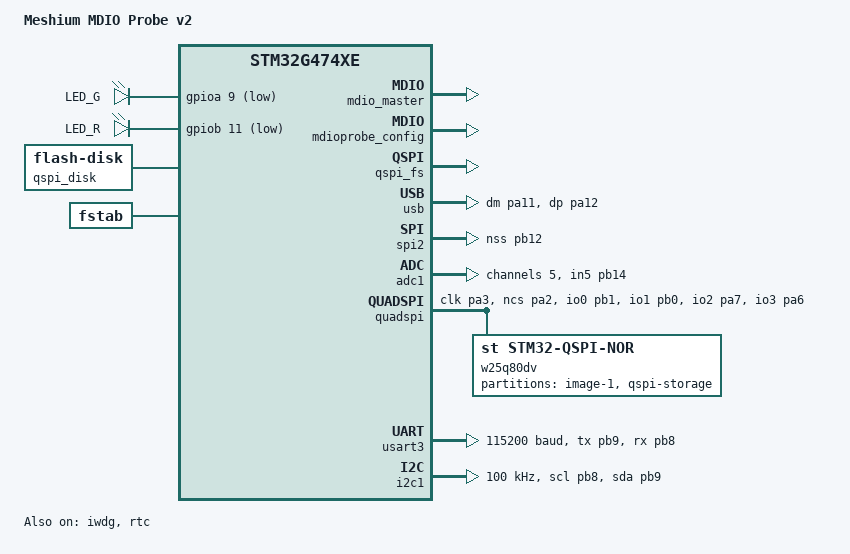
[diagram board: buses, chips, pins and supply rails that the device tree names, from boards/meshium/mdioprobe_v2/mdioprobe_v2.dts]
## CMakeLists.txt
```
cmake_minimum_required(VERSION 3.20.0)

# The board lives inside the app: boards/meshium/mdioprobe_v2/.
list(APPEND BOARD_ROOT ${CMAKE_CURRENT_SOURCE_DIR})

# No `cdc-acm-console` snippet: it builds a USB device with CDC ACM and
# nothing else, and this firmware has to be able to tear that down and come
# back as mass storage. The device is ours, in src/mdioprobe_usbd.c.

find_package(Zephyr REQUIRED HINTS $ENV{ZEPHYR_BASE})
project(mdioprobe_v2)

# ---------------------------------------------------------------------------
# Version header
# ---------------------------------------------------------------------------
#
# Release version from the tracked version.txt, build identity from git. The
# script rewrites the header only when its contents change, so a rebuild
# after an unrelated edit does not cascade.

set(MDIOPROBE_VERSION_HEADER ${CMAKE_BINARY_DIR}/generated/mdioprobe_version.h)

add_custom_target(mdioprobe_version_header ALL
  COMMAND ${PYTHON_EXECUTABLE}
          ${CMAKE_CURRENT_LIST_DIR}/scripts/gen_version_header.py
          --version-file ${CMAKE_CURRENT_LIST_DIR}/version.txt
          --out-header ${MDIOPROBE_VERSION_HEADER}
  BYPRODUCTS ${MDIOPROBE_VERSION_HEADER}
  DEPENDS
    ${CMAKE_CURRENT_LIST_DIR}/version.txt
    ${CMAKE_CURRENT_LIST_DIR}/scripts/gen_version_header.py
  VERBATIM
)
add_dependencies(app mdioprobe_version_header)

# ---------------------------------------------------------------------------
# MicroPython
# ---------------------------------------------------------------------------
#
# Built as a plain CMake static library and linked into the app, rather than
# with zephyr_library(): the latter is for Zephyr modules and warns when used
# from an application. The consequence is that this target does NOT inherit
# Zephyr's compile settings automatically — they have to be pulled in by hand
# below, both for the target itself and for the separate QSTR preprocessing
# pass.

set(MICROPY_DIR "${CMAKE_CURRENT_LIST_DIR}/third_party/micropython"
    CACHE PATH "Path to the MicroPython source tree")
set(MICROPY_PORT_DIR "${MICROPY_DIR}/ports/zephyr")

if(NOT EXISTS "${MICROPY_PORT_DIR}/CMakeLists.txt")
  message(FATAL_ERROR
    "MicroPython not found at ${MICROPY_DIR}.\n"
    "It is a git submodule: git submodule update --init --recursive")
endif()
if(NOT EXISTS "${MICROPY_DIR}/lib/micropython-lib/README.md")
  message(FATAL_ERROR
    "micropython-lib is missing — the frozen manifest needs it.\n"
    "Run: git submodule update --init --recursive")
endif()

set(MICROPY_TARGET micropython)

include(${MICROPY_DIR}/py/py.cmake)
include(${MICROPY_DIR}/extmod/extmod.cmake)

# The port ships a devicetree binding (micropython,heap) for a split GC heap.
list(APPEND DTS_ROOT ${MICROPY_PORT_DIR}/dts)

if(CONFIG_MICROPY_FROZEN_MODULES)
  # Manifest paths in this project are relative to the app root, not to the
  # port directory the way upstream's own board manifests are.
  cmake_path(ABSOLUTE_PATH CONFIG_MICROPY_FROZEN_MANIFEST
             BASE_DIRECTORY ${CMAKE_CURRENT_LIST_DIR})
  set(MICROPY_FROZEN_MANIFEST ${CONFIG_MICROPY_FROZEN_MANIFEST})
endif()

# Must come after MICROPY_FROZEN_MANIFEST is resolved: it pulls in
# py/manifest.cmake, which turns the MICROPY_MANIFEST_* variables into the
# -v arguments makemanifest.py needs. Skip it and the frozen-content step
# dies with "TypeError: 'NoneType' object is not iterable".
include(${MICROPY_DIR}/py/usermod.cmake)

# Mirrors ports/zephyr/CMakeLists.txt, with two deliberate omissions:
#   src/zephyr_start.c — supplies main(); ours is in src/main.c so the
#                        hardware is up before the interpreter starts.
#   src/usbd.c         — would build a second USB device; Zephyr already
#                        owns ours (see src/mdioprobe_mp_usbd.c).
set(MICROPY_SOURCE_PORT
    main.c
    help.c
    modzephyr.c
    mphalport.c
    uart_core.c
    zephyr_device.c
    zephyr_storage.c
    zephyr_filesystem.c
    mpthreadport.c
)
list(TRANSFORM MICROPY_SOURCE_PORT PREPEND ${MICROPY_PORT_DIR}/)

# ports/zephyr/src/zephyr_getchar.c is the console input path for builds
# *without* CONFIG_CONSOLE_SUBSYS: it hooks the UART console debug server
# instead. We use the console subsystem (uart_core.c's tty layer), so that
# file is dead code here — and it does not even compile without
# CONFIG_UART_CONSOLE_DEBUG_SERVER_HOOKS, which we have no other reason to
# turn on.
set(MICROPY_SOURCE_PORT_SRC)

set(MICROPY_SOURCE_SHARED
    libc/printf.c
    readline/readline.c
    runtime/gchelper_generic.c
    runtime/interrupt_char.c
    runtime/mpirq.c
    runtime/pyexec.c
    runtime/stdout_helpers.c
    runtime/sys_stdio_mphal.c
    timeutils/timeutils.c
)
list(TRANSFORM MICROPY_SOURCE_SHARED PREPEND ${MICROPY_DIR}/shared/)

set(MICROPY_QSTRDEFS_PORT ${MICROPY_PORT_DIR}/qstrdefsport.h)

# Our own builtin module. It has to be listed here — and compiled as part of
# the micropython target below, not the app — because MP_REGISTER_MODULE() is
# discovered by scanning MICROPY_SOURCE_QSTR. Compiled into `app` instead it
# would build cleanly and simply not exist in Python.
set(MDIOPROBE_MICROPY_SOURCES
    ${CMAKE_CURRENT_LIST_DIR}/src/modmdioprobe.c
    ${CMAKE_CURRENT_LIST_DIR}/src/mdioprobe_readline.c
)

set(MICROPY_SOURCE_QSTR
    ${MICROPY_SOURCE_PY}
    ${MICROPY_SOURCE_EXTMOD}
    ${MICROPY_SOURCE_SHARED}
    ${MICROPY_SOURCE_PORT}
    ${MICROPY_SOURCE_PORT_SRC}
    ${MDIOPROBE_MICROPY_SOURCES}
)

# The QSTR extraction step runs the compiler as a bare preprocessor, outside
# any CMake target, so it sees none of Zephyr's include paths or -D flags
# unless they are handed over explicitly. Without this it silently
# mis-evaluates everything guarded by CONFIG_*.
zephyr_get_include_directories_for_lang(C includes)
zephyr_get_system_include_directories_for_lang(C system_includes)
zephyr_get_compile_definitions_for_lang(C definitions)
zephyr_get_compile_options_for_lang(C options)
set(MICROPY_CPP_FLAGS_EXTRA ${includes} ${system_includes} ${definitions} ${options})

# Zephyr injects -std=c17 through zephyr_interface, but MicroPython needs GNU
# C: shared/runtime/gchelper_generic.c uses `register ... asm("r4")`. Carried
# on a separate INTERFACE target linked *after* zephyr_interface so its option
# lands later on the command line and wins.
add_library(mdioprobe_micropython_cflags INTERFACE)
target_compile_options(mdioprobe_micropython_cflags INTERFACE -std=gnu99)

add_library(${MICROPY_TARGET} STATIC)
target_link_libraries(${MICROPY_TARGET} PRIVATE
    zephyr_interface
    mdioprobe_micropython_cflags
)
target_include_directories(${MICROPY_TARGET} PRIVATE
    ${MICROPY_INC_CORE}
    ${MICROPY_PORT_DIR}
    ${CMAKE_CURRENT_LIST_DIR}/src
    ${CMAKE_CURRENT_LIST_DIR}/include
    ${CMAKE_CURRENT_BINARY_DIR}
    ${CMAKE_BINARY_DIR}/generated
)
# gchelper_generic.c scans the stack conservatively from captured registers,
# which assumes no frame pointer is in the way.
target_compile_options(${MICROPY_TARGET} PRIVATE -fomit-frame-pointer)
target_compile_definitions(${MICROPY_TARGET} PRIVATE
    NDEBUG
    MP_CONFIGFILE=<${CONFIG_MICROPY_CONFIGFILE}>
    MICROPY_HEAP_SIZE=${CONFIG_MICROPY_HEAP_SIZE}
    # Needed even with MICROPY_VFS_FAT off: the QSTR pass preprocesses every
    # extmod source, and modvfs.c pulls in vfs_fat.h -> oofatfs/ff.h, which
    # refuses to be preprocessed without it. The FatFs code itself is still
    # compiled out.
    FFCONF_H=\"${MICROPY_OOFATFS_DIR}/ffconf.h\"
    MICROPY_VFS_FAT=$<BOOL:${CONFIG_MICROPY_VFS_FAT}>
    MICROPY_VFS_LFS1=$<BOOL:${CONFIG_MICROPY_VFS_LFS1}>
    MICROPY_VFS_LFS2=$<BOOL:${CONFIG_MICROPY_VFS_LFS2}>
)
target_sources(${MICROPY_TARGET} PRIVATE ${MICROPY_SOURCE_QSTR})

include(${MICROPY_DIR}/py/mkrules.cmake)

# modmdioprobe.c includes the generated version header.
add_dependencies(${MICROPY_TARGET} mdioprobe_version_header)

# mpconfigport.h includes <zephyr/autoconf.h>, so the generated headers have
# to exist before anything in this target compiles.
add_dependencies(${MICROPY_TARGET} zephyr_generated_headers)
add_dependencies(BUILD_VERSION_HEADER zephyr_generated_headers)

target_link_libraries(app PRIVATE ${MICROPY_TARGET})

# ---------------------------------------------------------------------------
# Application
# ---------------------------------------------------------------------------

target_sources(app PRIVATE
    src/main.c
    src/mdioprobe_adc_dac.c
    src/mdioprobe_timers.c
    src/mdioprobe_mdio_api.c
    src/mdioprobe_mdio_master.c
    src/mdioprobe_autocal.c
    src/mdioprobe_vreg.c
    src/mdioprobe_serial.c
    src/mdioprobe_led.c
    src/mdioprobe_usb.c
    src/mdioprobe_api.c
    src/mdioprobe_bus.c
    src/mdioprobe_reset.c
    src/mdioprobe_mp_usbd.c
    src/mdioprobe_usbd.c
    src/mdioprobe_msd.c
)

# include/ is the public API surface; src/ holds the private module
# headers that mdioprobe_api.h deliberately hides.
target_include_directories(app PRIVATE include src ${CMAKE_BINARY_DIR}/generated)
```

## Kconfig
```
# Copyright (c) 2026 Meshium
# SPDX-License-Identifier: Apache-2.0

# The MicroPython Zephyr port ships its own Kconfig with every MICROPY_*
# symbol we need — including the ROM feature-level choice its mpconfigport.h
# insists on — and it sources Kconfig.zephyr itself. Pulling it in beats
# restating those symbols here, which would silently drift from upstream.
#
# Values for this board live in prj.conf.
rsource "third_party/micropython/ports/zephyr/Kconfig"
```

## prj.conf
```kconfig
CONFIG_GPIO=y

# SPI2 is driven directly via LL by src/mdioprobe_mdio_api.c. The Zephyr
# driver is kept ONLY so its init applies the spi2 pinctrl group
# (PB12/PB13/PB15 → AF5). Application code never calls the SPI API — the
# stm32 slave-mode driver has races (Tx dma_stop failure, RX FIFO desync
# on re-arm) that proved fatal for back-to-back captures on g474.
CONFIG_SPI=y
CONFIG_SPI_SLAVE=y

CONFIG_ADC=y

# The vreg control tick (TIM6, 20 kHz) is registered as a zero-latency IRQ so
# irq_lock() cannot mask it — the bitbang MDIO master holds the lock for a
# whole ~430 µs frame, and a starved regulator loses the rail entirely
# (measured 2.7 V of swing on a 1.8 V target, 2026-07-30). Rationale and the
# consequences for locking inside the module are in src/mdioprobe_vreg.c.
CONFIG_ZERO_LATENCY_IRQS=y
# CONFIG_DAC is intentionally off:
#  - DAC3_CH1 (MDC threshold) and DAC4_CH1 (MDIO threshold) are
#    internal-only on STM32G4 — no pin, so no pinctrl, so no Zephyr node;
#  - DAC1_CH1 (vreg gate, PA4) is inside a 10 kHz control loop that needs
#    direct register writes.
# Both are configured via LL (mdioprobe_adc_dac.c / mdioprobe_vreg.c).

# QSPI NOR: Winbond W25Q80DVSNIG (8 Mbit).
CONFIG_FLASH=y
CONFIG_FLASH_MAP=y
CONFIG_FLASH_PAGE_LAYOUT=y
CONFIG_FLASH_STM32_QSPI=y
# The QSPI driver logs a dozen INFO lines about SFDP parsing on every boot.
# It registers with CONFIG_FLASH_LOG_LEVEL, so this quiets it without
# touching the driver. Note it covers every flash driver, not just QSPI.
CONFIG_FLASH_LOG_LEVEL_WRN=y

# Alternate personalities of the target connector (PB8/PB9). Both drivers
# are built in and their pins re-muxed at runtime by mdioprobe_serial.c,
# so changing the connector's role needs no reflash.
# The console is USB CDC ACM, and the USB device is built by this firmware
# rather than by the cdc-acm-console snippet.
CONFIG_USB_DEVICE_STACK_NEXT=y
CONFIG_USBD_CDC_ACM_CLASS=y
CONFIG_USBD_MSC_CLASS=y
CONFIG_CDC_ACM_SERIAL_INITIALIZE_AT_BOOT=n
CONFIG_SERIAL=y
CONFIG_UART_LINE_CTRL=y
CONFIG_I2C=y
# Runtime re-muxing of PB8/PB9 between MDIO / USART3 / I2C1: DYNAMIC makes
# the drivers' pinctrl configs reachable from the app, KEEP_SLEEP_STATE
# keeps the Analog "sleep" state in the build (it is dropped by default
# outside of PM builds).
CONFIG_PINCTRL_DYNAMIC=y
CONFIG_PINCTRL_KEEP_SLEEP_STATE=y

CONFIG_CONSOLE=y
CONFIG_UART_CONSOLE=y

CONFIG_LOG=y
CONFIG_LOG_MODE_DEFERRED=y
# The MicroPython REPL and the log backend share one CDC ACM port, so keep
# the log to events that are worth interrupting a command line for.
CONFIG_LOG_MAX_LEVEL=2
CONFIG_LOG_BUFFER_SIZE=16384

# Staging buffer of the shell's log backend, in BYTES (shell_uart.c divides
# it by sizeof(uint32_t)). The 512-byte default overflows during boot: with
# CHECK_DTR the output is held back until the USB terminal is opened, while
# driver init keeps logging — the buffer is MPSC_PBUF_MODE_OVERWRITE, so the
# oldest messages are dropped and you get "--- N messages dropped ---".
# Receive ring buffer. The 64-byte default is smaller than legitimate
# commands: `flash write <device> <addr> <dword>...` with a device name like
# "qspi-nor-flash@90000000" passes 64 characters with only two data words, and
# a host that pastes the line rather than typing it overruns the buffer
# mid-command. The shell then executes the truncated remainder and reports a
# verification error that has nothing to do with the flash (seen 2026-07-30).
# Long commands also need somewhere to be assembled once received.
# `kernel reboot cold|warm`. The delay lets the shell echo the command out
# over CDC ACM before the reset tears USB enumeration down — without it the
# host usually loses the line before seeing any acknowledgement.

# USB device (console/shell backend). The `cdc-acm-console` snippet, added
# from CMakeLists.txt, turns on USB_DEVICE_STACK_NEXT and points
# zephyr,console + zephyr,shell-uart at the CDC ACM UART.
CONFIG_CDC_ACM_SERIAL_MANUFACTURER_STRING="Meshium"
CONFIG_CDC_ACM_SERIAL_PRODUCT_STRING="MDIO Probe v2"
# TODO: VID/PID are Zephyr's test IDs — replace before shipping hardware.
CONFIG_CDC_ACM_SERIAL_VID=0x2fe3
CONFIG_CDC_ACM_SERIAL_PID=0x0004

CONFIG_PICOLIBC=y
CONFIG_PICOLIBC_USE_MODULE=n

# --- MicroPython ---
# The interpreter runs in the main thread and sizes its own stack check from
# CONFIG_MAIN_STACK_SIZE, so this is the REPL's stack too.
CONFIG_MAIN_STACK_SIZE=8192
# ports/zephyr/mphalport.c parks the interpreter on a k_poll signal while it
# waits for console input, instead of spinning.
CONFIG_POLL=y
# Console RX/TX rings for the interpreter's tty layer (ports/zephyr/uart_core.c).
CONFIG_CONSOLE_SUBSYS=y
CONFIG_CONSOLE_GETCHAR=y
CONFIG_CONSOLE_GETCHAR_BUFSIZE=256
CONFIG_CONSOLE_PUTCHAR_BUFSIZE=256

# Our own MicroPython configuration header, not the port's minimal one.
CONFIG_MICROPY_CONFIGFILE="mpconfigport_mdioprobe.h"
# A static array in the port's main.c, so it is .bss and fixed at link time.
# 64 KB (what the previous project used) does not leave enough of this
# board's 128 KB for the capture ring, vreg loop, detector and USB.
CONFIG_MICROPY_HEAP_SIZE=49152
CONFIG_MICROPY_FROZEN_MODULES=y
CONFIG_MICROPY_FROZEN_MANIFEST="micropython_manifest.py"
# MicroPython's own FatFs stays out: the FAT volume belongs to Zephyr and
# reaches Python through zephyr.FileSystem.
CONFIG_MICROPY_VFS_FAT=n

# --- Storage: FAT on the QSPI NOR ---
# A flash-disk block device over the storage partition, with Zephyr's FatFs
# on top. FAT rather than LittleFS because a host has to be able to read the
# volume directly over USB MSD without a driver.
CONFIG_DISK_ACCESS=y
CONFIG_DISK_DRIVER_FLASH=y
CONFIG_FILE_SYSTEM=y
# Silence the filesystem subsystem's own logging. A missing file is an
# ordinary outcome of a CLI command, and fs.c reports it at ERR level, which
# lands on top of the user's prompt. Every filesystem failure already reaches
# the operator through the command that caused it, so the second copy adds
# only interleaving. Note WRN is not enough here: a module at WRN still emits
# ERR.
CONFIG_FS_LOG_LEVEL_OFF=y
CONFIG_FAT_FILESYSTEM_ELM=y
CONFIG_FILE_SYSTEM_MKFS=y
CONFIG_FS_FATFS_MKFS=y
# Format when the mount fails, i.e. on a blank chip. Convenient for a bench
# instrument; a product would want this behind a deliberate user action,
# because a transient read failure would take the volume with it.
CONFIG_FS_FATFS_MOUNT_MKFS=y

# f_getlabel()/f_setlabel(). The volume shows up on a host as MDIOPROBE
# rather than NO NAME, which matters because `msd` is how files get onto the
# probe and an unlabelled drive is one more thing to identify by size.
CONFIG_FS_FATFS_EXTRA_NATIVE_API=y
# Long filenames. Not cosmetic: without them FAT stores 8.3 names in upper
# case, so a script saved as `probe.py` lands on the volume as `PROBE.PY`
# and `import probe` cannot find it — which would defeat the whole reason
# for putting MicroPython's VFS over this volume. The working buffer is
# (MAX_LFN + 1) * 2 bytes in .bss; 64 covers any sane filename at 130 B.
# FatFs only accepts volume strings from a built-in list (RAM, NAND, CF,
# SD, ...) unless custom ones are declared. Declaring ours is worth two
# lines: the chip is NOR flash, so calling the volume NAND would be plainly
# wrong, and the name ends up in every path a user types.
CONFIG_FS_FATFS_CUSTOM_MOUNT_POINT_COUNT=1
CONFIG_FS_FATFS_CUSTOM_MOUNT_POINTS="flash"

CONFIG_FS_FATFS_LFN=y
CONFIG_FS_FATFS_LFN_MODE_BSS=y
CONFIG_FS_FATFS_MAX_LFN=64
```

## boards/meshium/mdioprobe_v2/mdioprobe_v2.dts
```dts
/*
 * Copyright (c) 2026 Meshium
 *               Aleksandr Senin <al@meshium.net>
 *
 * SPDX-License-Identifier: Apache-2.0
 *
 * MDIO Probe v2 — STM32G474CET6 (LQFP48), custom carrier board.
 *
 * Capture path pin assignment is identical to the mdioprobe_g474 bring-up
 * board; what were jumper wires there are PCB traces here:
 *
 *   PA0 (COMP1_OUT, MDC digital)  --trace--> PB13 (SPI2_SCK)
 *   PA8 (COMP7_OUT, MDIO digital) --trace--> PB15 (SPI2_MOSI)
 *   PA10 (HRTIM1_CHB1, NSS latch) --trace--> PB12 (SPI2_NSS)
 *
 * Everything on the capture chain (COMP1/COMP7, DAC3/DAC4 thresholds,
 * TIM3 one-pulse counter, HRTIM SR-latch, SPI2 slave + DMA1) is set up
 * from LL code, not from DT — see docs/CAPTURE.md.
 */

/dts-v1/;
#include <st/g4/stm32g474Xe.dtsi>
#include <st/g4/stm32g474c(b-c-e)tx-pinctrl.dtsi>
#include <zephyr/dt-bindings/gpio/gpio.h>
#include <zephyr/dt-bindings/adc/adc.h>
#include <zephyr/dt-bindings/i2c/i2c.h>

/ {
	model = "Meshium MDIO Probe v2";
	compatible = "meshium,mdioprobe-v2";

	chosen {
		zephyr,sram = &sram0;
		zephyr,flash = &flash0;
		/*
		 * No VCP on this board: the console is a USB CDC ACM port.
		 * Declared here rather than by the `cdc-acm-console` snippet,
		 * because the firmware builds its own USB device — it has to
		 * be able to tear CDC down and come back as mass storage, and
		 * the snippet only ever registers CDC.
		 */
		zephyr,console = &cdc_acm_console;
	};

	/*
	 * Colours verified on hardware 2026-07-22: the initial pinout notes
	 * had them the other way round (PA9=R, PB11=G) — the board actually
	 * wires PA9 to green and PB11 to red.
	 */
	leds: leds {
		compatible = "gpio-leds";

		green_led: led_g {
			gpios = <&gpioa 9 GPIO_ACTIVE_LOW>;
			label = "LED_G";
		};

		red_led: led_r {
			gpios = <&gpiob 11 GPIO_ACTIVE_LOW>;
			label = "LED_R";
		};
	};

	aliases {
		led0 = &green_led;
		led1 = &red_led;
		watchdog0 = &iwdg;
		die-temp0 = &die_temp;
		volt-sensor0 = &vref;
		volt-sensor1 = &vbat;
	};

	/*
	 * Bitbang Clause-22 master (the "generate" half of the probe).
	 *
	 * MDC leaves the board through an external tri-state buffer:
	 *   MDC_EN  (PB6, active LOW) enables the buffer output;
	 *   MDC_OUT (PB7) is the bitbang clock fed into the buffer input.
	 * The buffer is powered from the programmable translator supply
	 * (see mdioprobe_vreg.c) so MDC swings at the target's logic level.
	 * Its output also loops back to PA1/COMP1, so the sniffer's clock
	 * front end sees the probe's own MDC.
	 *
	 * MDIO is split: PB8 drives the line (open-drain, no pull, parked
	 * as Analog while receiving so it cannot load the bus), while the
	 * read-back path is the *sniffer* front end — PB14 → COMP7, whose
	 * digital output the master samples. Reading through the comparator
	 * means the master works at whatever logic level the target uses,
	 * with the same DAC threshold the capture path was calibrated to.
	 */
	mdio_master: mdio_master {
		compatible = "mdioprobe,mdio-master";
		status = "okay";
		mdc-gpios = <&gpiob 7 GPIO_ACTIVE_HIGH>;
		/*
		 * Open-drain: a 4.7 kΩ pull-up to VREG (the buffer's supply)
		 * makes the inactive level. Driving it push-pull would
		 * back-power the VREG rail from the 3.3 V domain.
		 */
		mdc-en-gpios = <&gpiob 6 (GPIO_ACTIVE_LOW | GPIO_OPEN_DRAIN)>;
		mdio-out-gpios = <&gpiob 8 (GPIO_ACTIVE_HIGH | GPIO_OPEN_DRAIN)>;
	};

	mdioprobe_config {
		compatible = "mdioprobe,config";
		/*
		 * MDIO idle-voltage sense. PB14 is shared three ways:
		 * ADC1_IN5 (this channel), COMP7_INP (sniffer) and the
		 * bitbang master's read-back. All three are read-only —
		 * the pin stays Analog at all times.
		 */
		io-channels = <&adc1 5>;
		io-channel-names = "mdio_adc";
		/*
		 * PHY_RST on the target connector: open-drain, no pull —
		 * the line must be pulled up by the target's own supply.
		 */
		target-reset-gpios = <&gpiob 5 (GPIO_ACTIVE_LOW | GPIO_OPEN_DRAIN)>;
	};

};

&clk_hsi {
	status = "okay";
};

/*
 * No crystal on the board: HSI16 feeds the PLL for the 170 MHz core
 * clock, and the USB FS peripheral runs off HSI48.
 *
 * HSI48 free-running is only ~±3 % over temperature, which is outside
 * the ±0.25 % USB FS requires. `src/mdioprobe_usb.c` enables the CRS
 * peripheral to auto-trim HSI48 against USB SOF packets — Zephyr's G4
 * clock driver does not do this for us.
 */
&clk_hsi48 {
	status = "okay";
};

&pll {
	div-m = <4>;
	mul-n = <85>;
	div-p = <2>;
	div-q = <2>;
	div-r = <2>;
	clocks = <&clk_hsi>;
	status = "okay";
};

&rcc {
	clocks = <&pll>;
	clock-frequency = <DT_FREQ_M(170)>;
	ahb-prescaler = <1>;
	apb1-prescaler = <1>;
	apb2-prescaler = <1>;
};

zephyr_udc0: &usb {
	cdc_acm_console: cdc_acm_console {
		compatible = "zephyr,cdc-acm-uart";
	};

	pinctrl-0 = <&usb_dm_pa11 &usb_dp_pa12>;
	pinctrl-names = "default";
	status = "okay";
};

/*
 * Drop the default internal pull-down from SPI2 SCK/MOSI. The bus is
 * push-pull driven on-die by COMP1_OUT (PA0) and COMP7_OUT (PA8) through
 * short PCB traces; a ~40 kΩ pull-down would skew rising edges at
 * multi-MHz MDC. NSS keeps its pull-up — the HRTIM latch (POL1=1) rests
 * it inactive HIGH between frames.
 */
&pinctrl {
	spi2_sck_pb13_nopull: spi2_sck_pb13_nopull {
		pinmux = <STM32_PINMUX('B', 13, AF5)>;
		slew-rate = "very-high-speed";
	};

	spi2_mosi_pb15_nopull: spi2_mosi_pb15_nopull {
		pinmux = <STM32_PINMUX('B', 15, AF5)>;
		slew-rate = "very-high-speed";
	};
};

/*
 * SPI2 slave = the capture engine. The Zephyr driver is enabled only so
 * its init applies this pinctrl group (PB12/PB13/PB15 → AF5); the API is
 * never called. src/mdioprobe_mdio_api.c programs SPI2 + DMA1_Channel1 +
 * DMAMUX1 directly. Note PB14 is deliberately NOT listed — on this board
 * it is the analog MDIO sense pin, not SPI2_MISO.
 */
&spi2 {
	pinctrl-0 = <&spi2_sck_pb13_nopull &spi2_mosi_pb15_nopull &spi2_nss_pb12>;
	pinctrl-names = "default";
	status = "okay";
};

&adc1 {
	pinctrl-0 = <&adc1_in5_pb14>;
	pinctrl-names = "default";
	/* AHB/4 = 42.5 MHz, comfortably under the 60 MHz ADC ceiling. */
	st,adc-clock-source = "SYNC";
	st,adc-prescaler = <4>;
	status = "okay";
	#address-cells = <1>;
	#size-cells = <0>;

	/* PB14 = ADC1_IN5 — MDIO idle level (also COMP7_INP@INPSEL=0). */
	channel@5 {
		reg = <5>;
		zephyr,gain = "ADC_GAIN_1";
		zephyr,reference = "ADC_REF_INTERNAL";
		zephyr,acquisition-time = <ADC_ACQ_TIME_DEFAULT>;
		zephyr,resolution = <12>;
	};
};

/*
 * ADC2_IN12 (PB2, translator Vout sense) and DAC1_CH1 (PA4, MOSFET gate)
 * are driven from LL inside src/mdioprobe_vreg.c — the 10 kHz control
 * loop needs direct register access, so no Zephyr ADC/DAC node here.
 * DAC3_CH1 / DAC4_CH1 (comparator thresholds) are internal-only on G4:
 * no pin, no pinctrl, configured from src/mdioprobe_adc_dac.c.
 */

/*
 * QSPI NOR: Winbond W25Q80DVSNIG, 8 Mbit, on bank 1.
 *   PA3 CLK, PA2 NCS, PB1 IO0, PB0 IO1, PA7 IO2, PA6 IO3.
 */
/ {
	/*
	 * Block device over the storage partition, and the FAT volume on it.
	 *
	 * The volume is called "flash" because that is what it is — a NOR
	 * flash chip. FatFs only takes volume strings from a built-in list
	 * unless custom ones are declared, so prj.conf declares this one
	 * rather than borrowing "NAND", which would be wrong about the part.
	 * cache-size matches the chip's 4 KiB erase block — the flash-disk
	 * layer needs a whole block to do read-modify-write.
	 *
	 * Zephyr mounts it (automount) so the volume is available to C as
	 * well; MicroPython then wraps the same mount through
	 * zephyr.FileSystem, which is what makes `import` and `open()` work
	 * over it.
	 */
	qspi_disk: qspi_disk {
		compatible = "zephyr,flash-disk";
		partition = <&qspi_storage_partition>;
		disk-name = "flash";
		cache-size = <4096>;
	};

	fstab {
		compatible = "zephyr,fstab";

		qspi_fs: qspi_fs {
			compatible = "zephyr,fstab,fatfs";
			mount-point = "/flash:";
			disk-access;
			automount;
		};
	};
};

&quadspi {
	pinctrl-0 = <&quadspi1_clk_pa3 &quadspi1_bk1_ncs_pa2
		     &quadspi1_bk1_io0_pb1 &quadspi1_bk1_io1_pb0
		     &quadspi1_bk1_io2_pa7 &quadspi1_bk1_io3_pa6>;
	pinctrl-names = "default";
	status = "okay";

	w25q80dv: qspi-nor-flash@90000000 {
		compatible = "st,stm32-qspi-nor";
		reg = <0x90000000 DT_SIZE_M(1)>;
		size = <DT_SIZE_M(8)>;      /* bits */
		qspi-max-frequency = <80000000>;
		spi-bus-width = <4>;

		/*
		 * Page program opcode. REQUIRED here — the default is wrong for
		 * this chip and fails silently.
		 *
		 * SFDP carries no information about quad program opcodes, so the
		 * st,stm32-qspi-nor driver assumes a device that reads 1-4-4 also
		 * programs 1-4-4 and issues 0x38. The W25Q80DV does read 1-4-4
		 * (0xEB) but its only quad program is 0x32 (1-1-4); 0x38 is not a
		 * program instruction on this part at all. QSPI has no completion
		 * status, so the write returns success and nothing reaches the
		 * die — `flash write` reported "Write OK. Verification ERROR!"
		 * and the sector stayed 0xFF (2026-07-30).
		 */
		writeoc = "PP_1_1_4";

		status = "okay";

		partitions {
			compatible = "fixed-partitions";
			#address-cells = <1>;
			#size-cells = <1>;

			/*
			 * Reserved for a future MCUboot secondary slot.
			 *
			 * It has to be a raw partition: the bootloader reads and
			 * erases slots through flash_area and knows nothing about
			 * filesystems, so an image cannot live as a file. The FAT
			 * volume below is only ever the transport — a host drops
			 * the image on it over USB MSD and the firmware copies it
			 * in here.
			 *
			 * Internal flash cannot hold a second slot (512 KB total
			 * against an image already past 220 KB with MicroPython),
			 * so the slot has to be out here regardless. Sized now
			 * rather than later because repartitioning destroys the
			 * FAT volume and everything the user put on it.
			 */
			qspi_slot1_partition: partition@0 {
				label = "image-1";
				reg = <0x00000000 DT_SIZE_K(384)>;
			};

			/* Scripts and logs. FAT so a host can read it directly. */
			qspi_storage_partition: partition@60000 {
				label = "qspi-storage";
				reg = <0x00060000 DT_SIZE_K(640)>;
			};
		};
	};
};

/*
 * Alternate serial personalities of the target connector:
 *
 *   PB9 = USART3_TX / I2C1_SDA
 *   PB8 = USART3_RX / I2C1_SCL
 *
 * Both pins go straight to the connector, bypassing the MDC buffer — so
 * the serial personalities are fixed 3.3 V with no level translation, and
 * I2C1_SDA stays bidirectional end to end. The buffer must be off in these
 * modes or it would fight PB9 on the shared connector line.
 *
 * Both nodes are enabled so their drivers exist, but mdioprobe_serial.c
 * parks them in the "sleep" (Analog) pinctrl state at boot and only applies
 * "default" to the personality that is actually selected. In MDIO mode
 * neither peripheral may touch PB8/PB9 — anything driving those pins loads
 * the bus the analog front end is measuring.
 */
&usart3 {
	pinctrl-0 = <&usart3_tx_pb9 &usart3_rx_pb8>;
	pinctrl-1 = <&analog_pb9 &analog_pb8>;
	pinctrl-names = "default", "sleep";
	current-speed = <115200>;
	status = "okay";
};

&i2c1 {
	pinctrl-0 = <&i2c1_scl_pb8 &i2c1_sda_pb9>;
	pinctrl-1 = <&analog_pb8 &analog_pb9>;
	pinctrl-names = "default", "sleep";
	clock-frequency = <I2C_BITRATE_STANDARD>;
	status = "okay";
};

&iwdg {
	status = "okay";
};

&rtc {
	clocks = <&rcc STM32_CLOCK(APB1, 10)>,
		 <&rcc STM32_SRC_LSI RTC_SEL(2)>;
	status = "okay";
};

&clk_lsi {
	status = "okay";
};

&flash0 {
	partitions {
		compatible = "fixed-partitions";
		#address-cells = <1>;
		#size-cells = <1>;

		/*
		 * No bootloader yet, and no zephyr,code-partition chosen —
		 * the image links against the whole 512 KB. This entry only
		 * documents the intended split; the last 32 KB are reserved
		 * for settings/NVS.
		 */
		app_partition: partition@0 {
			label = "image-0";
			reg = <0x00000000 DT_SIZE_K(480)>;
		};

		storage_partition: partition@78000 {
			label = "storage";
			reg = <0x00078000 DT_SIZE_K(32)>;
		};
	};
};
```

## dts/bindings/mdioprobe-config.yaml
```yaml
description: MDIO Probe board configuration

compatible: "mdioprobe,config"

properties:
  io-channels:
    type: phandle-array
    description: |
      ADC channel used to sample the idle voltage of the sniffed MDIO line
      (PB14 / ADC1_IN5). Drives comparator threshold autocal and the default
      target voltage of the programmable translator supply.

  io-channel-names:
    type: string-array

  target-reset-gpios:
    type: phandle-array
    description: |
      Optional GPIO driving the target's PHY_RST pin. Open-drain, no pull:
      the pull-up must come from the target's own supply so the probe never
      back-powers a board that is off. Asserted for ~10 ms at startup so the
      probe can watch the target's MDIO init sequence from a clean state.
```

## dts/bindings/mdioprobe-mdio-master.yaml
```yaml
description: |
  Bitbang Clause-22 MDIO master with a tri-state MDC output buffer and a
  split MDIO path (separate drive pin, comparator read-back).

  This is NOT `zephyr,mdio-gpio`: that driver assumes one bidirectional
  MDIO pin it can flip between output and input. Here the drive pin and the
  sense pin are different pieces of hardware — PB8 drives the line, while
  the value is read from COMP7's digital output (fed by PB14). The driver
  lives in src/mdioprobe_mdio_master.c.

compatible: "mdioprobe,mdio-master"

properties:
  mdc-gpios:
    type: phandle-array
    required: true
    description: |
      Bitbang clock output feeding the external tri-state buffer input
      (MDC_OUT, PB7).

  mdc-en-gpios:
    type: phandle-array
    required: true
    description: |
      Output-enable of the external MDC buffer (MDC_EN, PB6, active low).
      De-asserted whenever the probe is sniffing so the board never drives
      the target's clock line.

      Must be open-drain: the line has a 4.7 kΩ pull-up to VREG, the
      buffer's own supply, which forms the inactive level. A push-pull
      driver would feed the 3.3 V domain into the regulated VREG rail
      through that resistor and hold it near 3.3 V.

  mdio-out-gpios:
    type: phandle-array
    required: true
    description: |
      MDIO drive pin (PB8). Open-drain, no pull while transmitting; parked
      as Analog (high-Z) while receiving or sniffing.

# No clock-frequency property: GPIO bitbang tops out near 150 kHz whatever
# you ask for, so the driver pins MDC there instead of pretending it is
# tunable.
```

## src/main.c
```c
/*
 * Copyright (c) 2026 Meshium
 *               Aleksandr Senin <al@meshium.net>
 *
 * SPDX-License-Identifier: Apache-2.0
 *
 * MDIO Probe v2 — entry point.
 *
 * Brings the hardware layer up and gets out of the way. There is no command
 * interface in this image: the shell that used to live here was removed once
 * `mdioprobe_api.h` covered everything it could do, and the CLI that replaces
 * it is the next stage.
 *
 * Until then the board is observable through its log and its indication:
 * the target detector reports the bus rail it classified, and the LED shows
 * connection state on the base layer with activity overlaid.
 */

#include <zephyr/kernel.h>
#include <zephyr/logging/log.h>

#include "mdioprobe_api.h"
#include "mdioprobe_msd.h"

LOG_MODULE_REGISTER(main, CONFIG_LOG_DEFAULT_LEVEL);

/* MicroPython's Zephyr port. `real_main()` is its entry point — the port
 * normally supplies its own main() in ports/zephyr/src/zephyr_start.c, which
 * we leave out of the build so the hardware is up before the interpreter
 * starts. `mp_console_init()` hands console RX to the interpreter. */
int real_main(void);
int mp_console_init(void);

int main(void)
{
	LOG_INF("MDIO Probe v2 (STM32G474CET6) start");

	int err = mdioprobe_init();

	if (err) {
		LOG_ERR("hardware init failed: %d", err);
		return err;
	}

	/* The volume is automounted by the fstab entry, so by here FatFs has
	 * it and the label can be checked. Idempotent, and a failure is not
	 * fatal — a cosmetic name is not worth refusing to boot over. */
	(void)mdioprobe_msd_label(NULL, 0);

	struct mdioprobe_bus_info bus;

	/* Logged, not printed: the CLI greets the operator itself once a host
	 * opens the port, and it is the one that waits for that. These lines
	 * are for the case where the CLI does not come up at all. */
	mdioprobe_bus_get(&bus);
	if (bus.target_present) {
		LOG_INF("Ready — target on a %d mV bus (measured %d mV, %u/%u "
			"samples at rail)",
			bus.nominal_mv, bus.measured_mv,
			bus.samples_used, bus.samples_total);
	} else {
		LOG_INF("Ready — no target detected (measured %d mV); capture "
			"and the master stay blocked until one is, or until the "
			"rail is declared", bus.measured_mv);
	}

	/* Hand this thread to MicroPython: it runs the frozen _boot.py, which
	 * mounts storage and starts the CLI, then the REPL. It does not
	 * return. */
	(void)mp_console_init();
	return real_main();
}
```

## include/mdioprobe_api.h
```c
/*
 * Copyright (c) 2026 Meshium
 *               Aleksandr Senin <al@meshium.net>
 *
 * SPDX-License-Identifier: Apache-2.0
 */

#pragma once

/*
 * mdioprobe hardware API — the whole public surface of the instrument.
 *
 * This is the only header outside src/. Everything below it (comparators,
 * DAC thresholds, TIM3/HRTIM framing, the SPI2+DMA capture ring, the bitbang
 * master, the software LDO) is private, and deliberately so: the settings
 * those modules expose are the ones a caller should never have to reason
 * about. Thresholds, the NSS window width and the stream byte offset are all
 * configured under the hood when the function that needs them starts, and
 * their current values are readable through the diagnostics section for
 * debugging only.
 *
 * Resource conflicts are handled here rather than by the caller: the
 * connector can only have one personality at a time, the master needs the
 * translator supply at the bus rail before it can drive anything, and the
 * target detector must not sample the line while the master owns it.
 *
 * Blocking rule: capture and the master require a known bus rail. It is
 * either detected from the MDIO idle level or declared with
 * mdioprobe_bus_force_level(); until then they return -ENODEV. The rail is
 * one number for everything — it sets the comparator thresholds and the
 * translator supply, because physically it is one thing: the logic level of
 * the bus.
 */

#include <stdbool.h>
#include <stdint.h>

#include <zephyr/kernel.h>
#include <zephyr/device.h>

/* ------------------------------------------------------------------ */
/* Lifecycle                                                          */
/* ------------------------------------------------------------------ */

/**
 * Bring up the whole hardware layer in the correct order and start the
 * target detector.
 *
 * @return 0 on success, negative errno on failure (the fault indication is
 *         raised automatically).
 */
int mdioprobe_init(void);

/* ------------------------------------------------------------------ */
/* 1a. Bus and target                                                 */
/* ------------------------------------------------------------------ */

struct mdioprobe_bus_info {
	bool     target_present; /* rail classified from the measured level */
	bool     level_forced;   /* rail declared by the operator */
	int32_t  nominal_mv;     /* 1800 / 2500 / 3300, or -1 if unknown */
	int32_t  measured_mv;    /* last measured idle level, -1 if unusable */
	uint32_t samples_used;   /* samples that clustered at the rail */
	uint32_t samples_total;
};

void mdioprobe_bus_get(struct mdioprobe_bus_info *out);

/** True when the rail is known, whether detected or forced. */
bool mdioprobe_bus_ready(void);

/**
 * Declare the bus rail by hand, for a bench with no target attached.
 *
 * @param nominal_mv 1800, 2500 or 3300; 0 returns to auto-detection.
 * @return 0 on success, -EINVAL otherwise.
 */
int mdioprobe_bus_force_level(int32_t nominal_mv);

/* ------------------------------------------------------------------ */
/* 1b. Translator supply                                              */
/* ------------------------------------------------------------------ */

enum mdioprobe_vreg_state {
	MDIOPROBE_VREG_OFF = 0,
	MDIOPROBE_VREG_SOFTSTART,
	MDIOPROBE_VREG_ON,        /* regulating */
	MDIOPROBE_VREG_PASSTHRU,  /* gate full on, output = Vin */
	MDIOPROBE_VREG_FAULT,     /* short-circuit latched */
};

struct mdioprobe_vreg_info {
	enum mdioprobe_vreg_state state;
	uint32_t target_mv;
	uint32_t measured_mv;
	uint32_t min_mv;      /* excursion since the last target change */
	uint32_t max_mv;
};

/**
 * Set the translator supply.
 *
 * @param mv 1800..3000 regulated; above that the pass element is opened
 *           fully and the output follows Vin (~3.3 V).
 * @return 0 on success, -EINVAL if below the regulated minimum.
 */
int mdioprobe_vreg_set(uint32_t mv);

void mdioprobe_vreg_off(void);
void mdioprobe_vreg_get(struct mdioprobe_vreg_info *out);

/**
 * Re-arm the min/max window in struct mdioprobe_vreg_info.
 *
 * Otherwise it spans everything since the last target change, which always
 * includes the soft-start ramp — so the ramp masks whatever is being looked
 * for. Reset once the rail is settled, exercise the thing under test, read.
 */
void mdioprobe_vreg_reset_excursion(void);

/* ------------------------------------------------------------------ */
/* 2. MDC frequency, passive                                          */
/* ------------------------------------------------------------------ */

/**
 * Measure the MDC frequency by listening only — nothing is driven onto the
 * bus, so this is safe against a wire that already has a master.
 *
 * Accuracy is about three significant figures: this board has no crystal,
 * so the time base is HSI16, and at 170 MHz an MDC period at 6.25 MHz is
 * only 27 timer ticks. Measured against a scope-confirmed 6.250 MHz, the
 * systematic error is about -700 ppm and matches HSI16's own drift.
 *
 * @return 0 on success, -EAGAIN if the line stayed idle for the timeout.
 */
int mdioprobe_mdc_freq(uint32_t *out_hz, k_timeout_t timeout);

/* ------------------------------------------------------------------ */
/* 3. Passive capture                                                 */
/* ------------------------------------------------------------------ */

struct mdioprobe_frame {
	uint8_t  op;   /* 1 = write, 2 = read */
	uint8_t  phy;
	uint8_t  reg;
	uint16_t data;
	int      err;  /* 0 = clean, -1 = framing did not decode as Clause 22 */
};

/** Capture continuously until mdioprobe_capture_stop(). */
int mdioprobe_capture_start(void);

/** Capture exactly `frames` frames, then stop on its own. */
int mdioprobe_capture_start_n(uint32_t frames);

bool mdioprobe_capture_active(void);
void mdioprobe_capture_stop(void);

/**
 * Take the next captured frame.
 *
 * @return 0 when a frame is returned; -EAGAIN on timeout with the capture
 *         still running; -ENODATA when a counted capture has delivered all
 *         of its frames; -EPERM if capture is not running.
 */
int mdioprobe_capture_next(struct mdioprobe_frame *out, k_timeout_t timeout);

/* ------------------------------------------------------------------ */
/* 4. Active master, Clause 22                                        */
/* ------------------------------------------------------------------ */

int mdioprobe_c22_read(uint8_t phy, uint8_t reg, uint16_t *val);
int mdioprobe_c22_write(uint8_t phy, uint8_t reg, uint16_t val);

/**
 * MDC rate in kHz. Default 1500, range 10..2500.
 *
 * The one tuning knob this API deliberately does *not* hide, because unlike
 * the thresholds and the framing window it is not a property of this board.
 * MDIO is open-drain — a '1' is a pull-up charging the line — so the fastest
 * usable rate depends on that pull-up and on the wiring, both external. The
 * range stops at 2500 because that is the Clause-22 maximum (IEEE 802.3
 * §22.2.2.11); the default stops lower because an 88E6321 on the development
 * bench went quiet at about 1.8 MHz.
 *
 * The delivered rate is at or just below the request, never above: the spin
 * that times a half-period is quantised, and the correction lands on the next
 * step that is not too fast. Up to about 9% at the top of the range, nothing
 * at the bottom. mdioprobe_diag_get() reports both numbers.
 *
 * Before winding this down because a target answers nothing but 0xffff, check
 * that MDIO has a pull-up at all: that failure mode looks identical, and on
 * this board it is the more likely one.
 *
 * @param khz 10..2500. Returns -EINVAL outside that.
 */
int mdioprobe_c22_set_clock(uint32_t khz);
uint32_t mdioprobe_c22_get_clock(void);

/**
 * Whether a read must see the Clause-22 turnaround zero to be believed.
 *
 * On by default, and it earns its keep: with it off, a scan of a bus that
 * already had another master on it reported all 32 addresses as answering,
 * each with different garbage. The turnaround is what tells a collision from
 * an answer.
 *
 * Turn it off only for a target known to return data without driving the
 * acknowledgement. The 88E6390 Rev A0 does exactly that (release notes
 * MV-S302664 §3.13), and the note's own remedy is for the master to tolerate
 * it; with the check on, every read of such a part fails while carrying a
 * perfectly good value.
 */
/** DIAGNOSTIC. See mdioprobe_mdio_master_probe(). */
int mdioprobe_c22_probe(uint8_t prtad, uint8_t regad, uint32_t nbits,
			uint32_t *early, uint32_t *late);

void mdioprobe_c22_set_strict_ta(bool on);
bool mdioprobe_c22_get_strict_ta(void);

/* ------------------------------------------------------------------ */
/* 5. Target reset                                                    */
/* ------------------------------------------------------------------ */

/**
 * Pulse the target's reset line.
 *
 * @param assert_ms hold time; 0 selects the 10 ms default.
 */
int mdioprobe_target_reset(uint32_t assert_ms);

/**
 * Read the reset line back. It is open-drain with no pull on our side, so
 * this reports the wire, not what we drove.
 *
 * @return 0 released (the target's pull-up is present), 1 still asserted,
 *         negative errno on failure.
 */
int mdioprobe_target_reset_line(void);

/* ------------------------------------------------------------------ */
/* 6. Connector mode (experimental)                                   */
/* ------------------------------------------------------------------ */

/*
 * PB8/PB9 carry one personality at a time. UART and I2C reach the connector
 * directly at a fixed 3.3 V with no level translation, and the MDC buffer is
 * switched off in those modes so it cannot fight PB9.
 */
enum mdioprobe_connector_mode {
	MDIOPROBE_CONN_MDIO = 0,
	MDIOPROBE_CONN_UART,
	MDIOPROBE_CONN_I2C,
};

/** Switch the connector. Capture is stopped automatically when leaving MDIO. */
int mdioprobe_connector_set_mode(enum mdioprobe_connector_mode mode);

enum mdioprobe_connector_mode mdioprobe_connector_get_mode(void);
const char *mdioprobe_connector_mode_name(enum mdioprobe_connector_mode mode);

/** NULL unless the connector is in the matching mode. */
const struct device *mdioprobe_connector_uart(void);
const struct device *mdioprobe_connector_i2c(void);

/* ------------------------------------------------------------------ */
/* 10. Diagnostics — for debugging, not for normal operation          */
/* ------------------------------------------------------------------ */

struct mdioprobe_diag {
	/* Capture chain health. */
	uint32_t dma_errors;
	uint32_t overrun_count;
	uint32_t torn_count;
	int8_t   byte_offset;   /* locked stream rotation, -1 = auto-detect armed */
	uint16_t cur_cndtr;

	/* Front-end and framing configuration applied under the hood. */
	int32_t  threshold_mv;  /* comparator threshold in use */
	uint32_t nss_window;    /* NSS LOW width in MDC ticks (TIM3 ARR) */

	/* Comparator activity over a short sampling window. */
	uint32_t comp_mdc_high;
	uint32_t comp_mdc_total;
	uint32_t comp_mdio_high;
	uint32_t comp_mdio_total;

	/* Active master timing. `master_actual_khz` is timed on the spot, not
	 * computed: asking for a rate the bit loop cannot reach is allowed, and
	 * this is where the shortfall shows. */
	uint32_t master_khz;
	uint32_t master_actual_khz;

	/* USB reference trim (HSI48 has no crystal behind it). */
	bool     usb_crs_synced;
	uint32_t usb_crs_trim;
};

void mdioprobe_diag_get(struct mdioprobe_diag *out);

/**
 * Copy the raw capture ring, newest last, ignoring frame alignment and every
 * validity check — the escape hatch that tells a decode failure apart from a
 * capture failure.
 *
 * @return bytes copied, clamped to the ring size.
 */
uint32_t mdioprobe_diag_ring_dump(uint8_t *out, uint32_t n_bytes);
```

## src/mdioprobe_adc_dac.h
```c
/*
 * Copyright (c) 2026 Meshium
 *               Aleksandr Senin <al@meshium.net>
 *
 * SPDX-License-Identifier: Apache-2.0
 */

#ifndef MDIOPROBE_ADC_DAC_H
#define MDIOPROBE_ADC_DAC_H

#include <zephyr/kernel.h>

int mdioprobe_adc_dac_init(void);
int mdioprobe_adc_read_idle_voltage(int32_t *out_mv);

/**
 * Measure the bus idle level and report how well-defined it was.
 *
 * MDIO is open-drain pulled up to the bus rail, so the level that means
 * something is the *high* one; everything below it is traffic. This takes a
 * burst of samples, then averages only those within a tolerance of the
 * maximum — a plain peak would let one noise spike set the answer, and a
 * plain mean would be dragged down by however busy the bus happens to be.
 *
 * `out_used` is the validity signal: on a real pulled-up line most samples
 * land near the rail, so a low count means the line is floating or the
 * measurement is not to be trusted.
 *
 * @param out_mv     averaged near-max level in millivolts
 * @param out_used   how many samples were within tolerance of the maximum
 * @param out_total  how many samples were taken
 * @return 0 on success, negative errno from the ADC otherwise.
 */
int mdioprobe_adc_read_level(int32_t *out_mv, uint32_t *out_used,
			     uint32_t *out_total);
int mdioprobe_dac_set_threshold(int32_t mv);
int mdioprobe_dac_set_mdio_threshold(int32_t mv);
void mdioprobe_comp_init(void);

#endif /* MDIOPROBE_ADC_DAC_H */
```

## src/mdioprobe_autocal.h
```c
/*
 * Copyright (c) 2026 Meshium
 *               Aleksandr Senin <al@meshium.net>
 *
 * SPDX-License-Identifier: Apache-2.0
 */

#pragma once

#include <stdint.h>

struct mdioprobe_mdc_stats {
	int edges_captured;
	int periods_total;
	int periods_accepted;
	uint32_t avg_period_ticks;
	uint32_t jitter_ticks;
	uint32_t tim_freq_hz;
	/*
	 * Frequency in milli-Hz (Hz × 1000). uint64_t because typical
	 * MDC at 6+ MHz overflows uint32 once scaled by 1000 (6.25 MHz ×
	 * 1000 = 6.25e9 > 2^32).
	 */
	uint64_t freq_milli_hz;
};

/**
 * Measure MDC frequency via TIM2 input-capture from COMP1_OUT.
 *
 * Listens only. If nothing else drives MDC this fails rather than putting a
 * frame on the wire — see the note at the top of `mdioprobe_autocal.c` for
 * why that is a hard rule and not a missing feature.
 *
 * @param target_edges Edges to capture (4..128).
 * @param timeout_ms   How long the bus may stay silent before giving up.
 * @param out          Stats struct filled on success.
 * @return 0 on success, -EAGAIN if not enough edges captured, -EIO if
 *         outlier rejection accepted < 2 periods.
 */
int mdioprobe_measure_mdc_freq_passive(int target_edges, int timeout_ms,
				       struct mdioprobe_mdc_stats *out);
```
